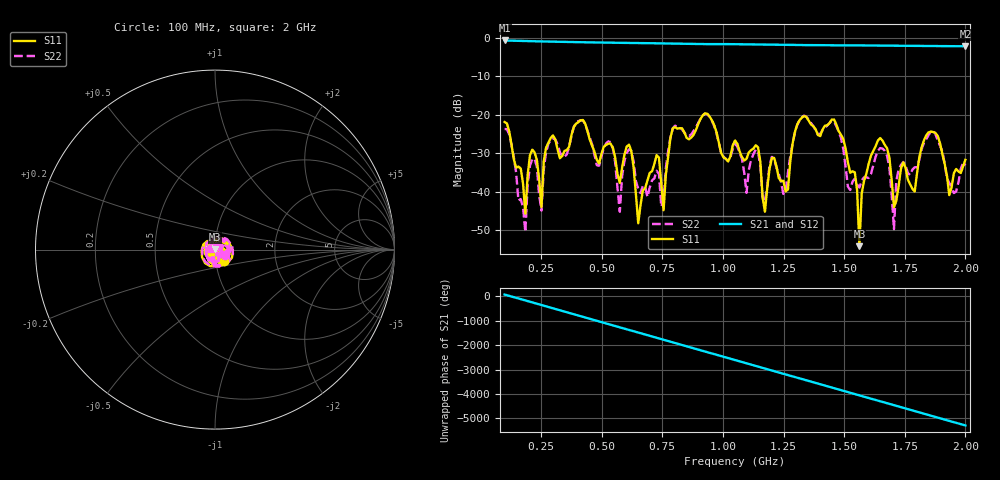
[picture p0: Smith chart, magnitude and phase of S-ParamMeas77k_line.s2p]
!Keysight Technologies,N5242B,MY48420967,A.15.65.19
!Date: Thursday, December 15, 2022 11:24:30
!Correction: S11(C  2-Port  )
!S21(C  2-Port  )
!S12(C  2-Port  )
!S22(C  2-Port  )
!S2P File: Measurements: S11, S21, S12, S22:
# Hz S  dB  R 50
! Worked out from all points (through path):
!   201 points, 100 MHz to 2 GHz, reference 50 ohm
!   highest |S21| = -0.62 dB at 100 MHz (marker M1); lowest = -2.1 dB at 2 GHz (marker M2)
!   group delay of S21, straight-line fit = 7.85 ns
!   lowest |S11| = -54.2 dB at 1.563 GHz (marker M3), VSWR 1.00, Z = 50.1 + j0.149 ohm
!   |S11| at or under -10 dB: start of sweep to end of sweep
!   |S22| runs from -50.5 to -19.7 dB; largest |S21 - S12| = 0.00099
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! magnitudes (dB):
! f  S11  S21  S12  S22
! 100 MHz  -21.9  -0.6  -0.6  -23.7
! 185.5 MHz  -45.7  -0.8  -0.8  -50.5
! 214 MHz  -29.1  -0.8  -0.8  -31.6
! 252 MHz  -44.0  -0.9  -0.9  -44.9
! 280.5 MHz  -27.3  -0.9  -0.9  -27.5
! 423 MHz  -21.3  -1.1  -1.1  -21.5
! 575 MHz  -37.7  -1.2  -1.2  -45.3
! 613 MHz  -27.8  -1.3  -1.3  -29.0
! 651 MHz  -48.3  -1.3  -1.3  -39.3
! 736.5 MHz  -31.2  -1.4  -1.4  -35.4
! 755.5 MHz  -44.8  -1.4  -1.4  -42.2
! 793.5 MHz  -23.5  -1.4  -1.4  -23.5
! 1.05 GHz  -26.7  -1.6  -1.6  -27.6
! 1.173 GHz  -45.2  -1.7  -1.7  -42.3
! 1.373 GHz  -23.0  -1.8  -1.8  -23.0
! 1.496 GHz  -26.3  -1.9  -1.9  -28.9
! 1.563 GHz  -54.2  -1.9  -1.9  -38.9
! 1.611 GHz  -30.7  -1.9  -1.9  -35.4
! 1.687 GHz  -31.1  -2.0  -2.0  -33.7
! 1.706 GHz  -44.0  -2.0  -2.0  -49.8
! 1.857 GHz  -24.4  -2.1  -2.1  -24.3
! 2 GHz  -31.7  -2.1  -2.1  -33.2
